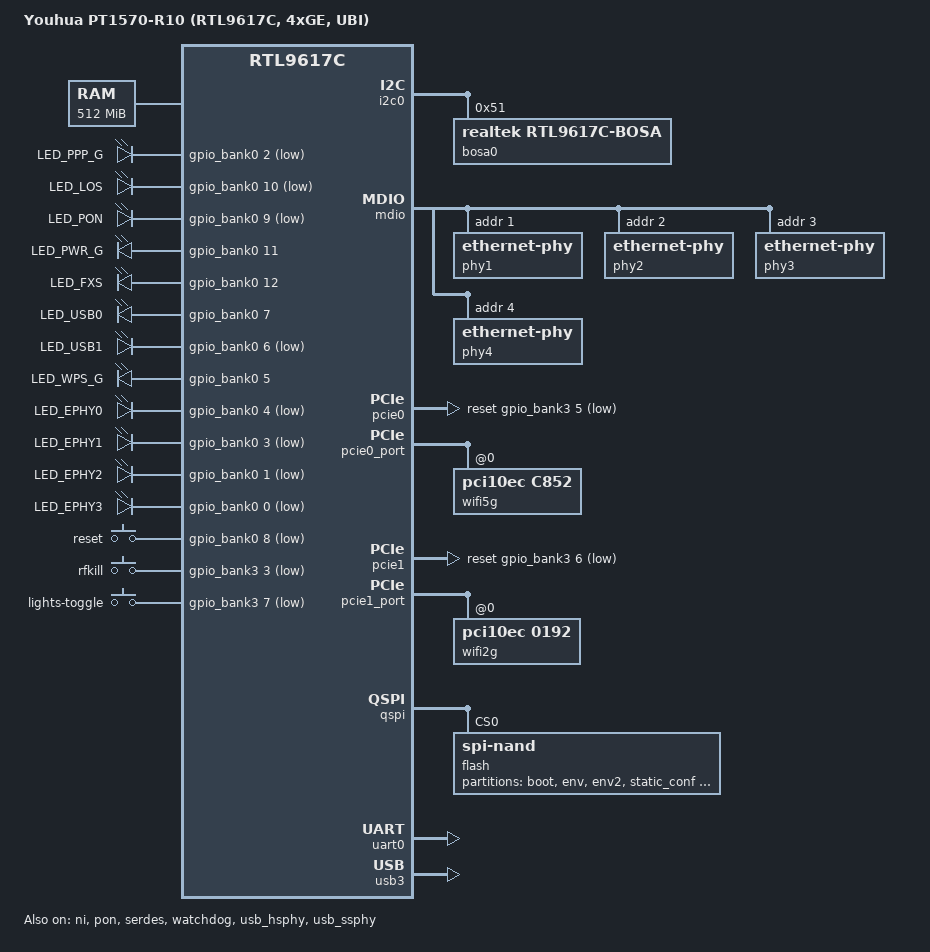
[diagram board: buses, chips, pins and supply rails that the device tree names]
// SPDX-License-Identifier: GPL-2.0-only
// Youhua PT1570-R10 — RTL9617C, 4xGE internal GPHY, PON, dual-band WiFi.
//
// Rewritten 2026-11-25 for the pure-refactor (Taurus) baseline d39cfc6.
// The old file included "rtl9617c-tyfza1-4ge.dts", which upstream removed in
// f75f4ca ("rewrite platform drivers as Taurus, drop rtl9617c compatibles").
// This DTS is modelled on upstream's rtl9617c-tianyi-tyfza1-2p5g.dts and uses
// the Taurus compatibles/device-tree bindings from rtk-taurus.dtsi.
//
// Verified board facts carried over from the previous (hardware-layer) DTS:
//   * 4xGE: internal GPHYs on NI port0..3; PCB routes them to the panel in
//     reverse (2026-11-14 per-jack check): port0=LAN4, port1=LAN3,
//     port2=LAN2, port3=LAN1. Ports are named by silkscreen via the DTS
//     "label" property (the Taurus NI driver reads it directly).
//   * LED GPIOs / polarities (old gpio0 global number -> new bank:pin,
//     mapping bank=floor(n/32), pin=n%32 from rtk-taurus.dtsi gpio-ranges):
//       internet 2L=b0:2, los 10L=b0:10, usb0 7H=b0:7, pon 9L=b0:9,
//       power 11H=b0:11, phone 12H=b0:12, lan0 4L=b0:4, lan1 3L=b0:3,
//       lan2 1L=b0:1, lan3 0L=b0:0, usb1 6L=b0:6, wps 5H=b0:5.
//     NOTE: "lan0..lan3" here are the SoC EPHY indices, mapped to panel
//     LAN4..LAN1 by files/etc/uci-defaults/96-pt1570-r10-leds.
//   * Keys (old global -> new): lights-toggle 103L=b3:7,
//     reset 8L=b0:8, rfkill/wifi 99L=b3:3.
//   * FIT boot: root=/dev/fit0 (uImage.FIT subimage block driver), with
//     chosen.u-boot,version as the fitblk driver's registration gate.
//   * WiFi: 5G RTL8852CE on pcie0, 2.4G RTL8192XBE on pcie1, using the
//     upstream mac80211 backport + AP firmware scheme (realtek,ap-firmware)
//     and factory calibration nvmem cells from the "factory" UBI volume.

/dts-v1/;

#include "rtk-taurus.dtsi"
#include <dt-bindings/gpio/gpio.h>
#include <dt-bindings/input/linux-event-codes.h>
#include <dt-bindings/leds/common.h>

/ {
	model = "Youhua PT1570-R10 (RTL9617C, 4xGE, UBI)";
	compatible = "youhua,pt1570-r10", "realtek,rtl9617c";

	aliases {
		serial0 = &uart0;
		i2c0 = &i2c0;
		led-boot = &led_power;
		led-failsafe = &led_power;
		led-running = &led_power;
		led-upgrade = &led_power;
	};

	chosen {
		stdout-path = "serial0:115200n8";
		// root=/dev/fit0 + u-boot,version gate: FIT rootfs is self-contained,
		// independent of the bootloader injecting a root= bootarg (the stock
		// qwe-qaq U-Boot does not). /dev/fit0 (not fitblk0) is the block device
		// exported by the uImage.FIT subimage block driver; see 510/511 patches.
		u-boot,version = "2025.01";
		bootargs = "earlycon console=ttyS0,115200n8 loglevel=7 clk_ignore_unused maxcpus=4 root=/dev/fit0 rootwait rootfstype=squashfs";
		rootdisk = <&ubi_rootdisk>;
	};

	memory@0 {
		device_type = "memory";
		reg = <0 0 0 0x20000000>;
	};

	reserved-memory {
		#address-cells = <2>;
		#size-cells = <2>;
		ranges;

		lan_deepq: lan-deepq@c000000 {
			reg = <0 0x0c000000 0 0x01500000>;
		};
		tz-smc@eeff000 {
			reg = <0 0x0eeff000 0 0x1000>;
			no-map;
		};
		ramoops@ff80000 {
			compatible = "ramoops";
			reg = <0 0x0ff80000 0 0x40000>;
			record-size = <0x10000>;
			console-size = <0x10000>;
			pmsg-size = <0x10000>;
		};
		tz@ffc0000 {
			reg = <0 0x0ffc0000 0 0x40000>;
		};
	};

	leds {
		compatible = "gpio-leds";

		internet {
			label = "LED_PPP_G";
			gpios = <&gpio_bank0 2 GPIO_ACTIVE_LOW>;
			default-state = "off";
		};
		los {
			label = "LED_LOS";
			gpios = <&gpio_bank0 10 GPIO_ACTIVE_LOW>;
		};
		pon {
			label = "LED_PON";
			gpios = <&gpio_bank0 9 GPIO_ACTIVE_LOW>;
		};
		led_power: power {
			label = "LED_PWR_G";
			gpios = <&gpio_bank0 11 GPIO_ACTIVE_HIGH>;
			default-state = "on";
		};
		phone {
			label = "LED_FXS";
			gpios = <&gpio_bank0 12 GPIO_ACTIVE_HIGH>;
		};
		usb0 {
			label = "LED_USB0";
			gpios = <&gpio_bank0 7 GPIO_ACTIVE_HIGH>;
		};
		usb1 {
			label = "LED_USB1";
			gpios = <&gpio_bank0 6 GPIO_ACTIVE_LOW>;
		};
		wps {
			label = "LED_WPS_G";
			gpios = <&gpio_bank0 5 GPIO_ACTIVE_HIGH>;
		};
		// SoC EPHY0..3 -> panel LAN4..LAN1 (see 96-pt1570-r10-leds).
		lan0 {
			label = "LED_EPHY0";
			gpios = <&gpio_bank0 4 GPIO_ACTIVE_LOW>;
		};
		lan1 {
			label = "LED_EPHY1";
			gpios = <&gpio_bank0 3 GPIO_ACTIVE_LOW>;
		};
		lan2 {
			label = "LED_EPHY2";
			gpios = <&gpio_bank0 1 GPIO_ACTIVE_LOW>;
		};
		lan3 {
			label = "LED_EPHY3";
			gpios = <&gpio_bank0 0 GPIO_ACTIVE_LOW>;
		};
	};

	gpio-keys {
		compatible = "gpio-keys";

		btn-reset {
			label = "reset";
			linux,code = <KEY_RESTART>;
			gpios = <&gpio_bank0 8 GPIO_ACTIVE_LOW>;
			debounce-interval = <60>;
		};
		btn-wifi {
			label = "rfkill";
			linux,code = <KEY_RFKILL>;
			gpios = <&gpio_bank3 3 GPIO_ACTIVE_LOW>;
			debounce-interval = <60>;
		};
		lights-toggle {
			label = "lights-toggle";
			linux,code = <KEY_LIGHTS_TOGGLE>;
			gpios = <&gpio_bank3 7 GPIO_ACTIVE_LOW>;
			debounce-interval = <60>;
		};
	};
};

&gpio0 {
	status = "okay";
};

&i2c0 {
	status = "okay";

	bosa0: optical-front-end@51 {
		compatible = "realtek,rtl9617c-bosa";
		reg = <0x51>;
		nvmem-cells = <&bosa_calibration>;
		nvmem-cell-names = "calibration";
	};
};

&mdio {
	status = "okay";

	phy1: ethernet-phy@1 {
		reg = <1>;
	};
	phy2: ethernet-phy@2 {
		reg = <2>;
	};
	phy3: ethernet-phy@3 {
		reg = <3>;
	};
	phy4: ethernet-phy@4 {
		reg = <4>;
	};
};

&ni {
	memory-region = <&lan_deepq>;
	nvmem-cells = <&base_mac 0>;
	nvmem-cell-names = "mac-address";
	status = "okay";

	ethernet-ports {
		// PCB is reverse-wired: NI port0..3 -> panel LAN4..LAN1.
		// The Taurus NI driver names each netdev from the DTS "label".
		port@0 {
			reg = <0>;
			label = "lan4";
			nvmem-cells = <&base_mac 4>;
			nvmem-cell-names = "mac-address";
			phy-mode = "internal";
			phy-handle = <&phy1>;
		};
		port@1 {
			reg = <1>;
			label = "lan3";
			nvmem-cells = <&base_mac 3>;
			nvmem-cell-names = "mac-address";
			phy-mode = "internal";
			phy-handle = <&phy2>;
		};
		port@2 {
			reg = <2>;
			label = "lan2";
			nvmem-cells = <&base_mac 2>;
			nvmem-cell-names = "mac-address";
			phy-mode = "internal";
			phy-handle = <&phy3>;
		};
		port@3 {
			reg = <3>;
			label = "lan1";
			nvmem-cells = <&base_mac 1>;
			nvmem-cell-names = "mac-address";
			phy-mode = "internal";
			phy-handle = <&phy4>;
		};
	};
};

&pcie0 {
	// 板载 8852CE 的 PERST#：不释放复位时链路停在 POLL_COMPLIANCE，
	// 卡不会被枚举，也就没有 phy0/wlan0。上层 tianyi DTS 同样配置。
	reset-gpios = <&gpio_bank3 5 GPIO_ACTIVE_LOW>;
	status = "okay";
};

&pcie0_port {
	// 5 GHz RTL8852CE. AP firmware + RFE54 tables come from the upstream
	// mac80211 backport patches (100-103) and rtl8852ce-ap-firmware package.
	wifi5g: wifi@0,0 {
		compatible = "pci10ec,c852";
		reg = <0x0000 0 0 0 0>;
		realtek,ap-firmware;
		realtek,rfe-type = <54>;
		ieee80211-freq-limit = <5150000 5900000>;
		nvmem-cells = <&wifi_cal_radio0>;
		nvmem-cell-names = "wifi-calibration";
	};
};

&pcie1 {
	// 板载 8192XBE 的 PERST#
	reset-gpios = <&gpio_bank3 6 GPIO_ACTIVE_LOW>;
	status = "okay";
};

&pcie1_port {
	// 2.4 GHz RTL8192XBE.
	wifi2g: wifi@0,0 {
		compatible = "pci10ec,0192";
		reg = <0x0000 0 0 0 0>;
		realtek,rfe-type = <54>;
		nvmem-cells = <&wifi_cal_radio1>;
		nvmem-cell-names = "wifi-calibration";
	};
};

&pon {
	status = "okay";
	nvmem-cells = <&epon_mac 0>, <&base_mac 0>, <&pon_sn>;
	nvmem-cell-names = "mac-address", "base-mac", "pon-serial";
	realtek,optical-front-end = <&bosa0>;
	tx-disable-gpios = <&gpio_bank0 15 GPIO_ACTIVE_HIGH>;
	realtek,burst-polarity = <0>;
	realtek,los-invert = <0>;
	realtek,uni-ports = /bits/ 8 <3 2 1 0>;
};

&qspi {
	status = "okay";

	flash@0 {
		compatible = "spi-nand";
		reg = <0>;
		spi-tx-bus-width = <1>;
		spi-rx-bus-width = <4>;

		partitions {
			compatible = "fixed-partitions";
			#address-cells = <1>;
			#size-cells = <1>;

			partition@0 {
				label = "boot";
				reg = <0x0 0x200000>;
				read-only;
			};
			partition@280000 {
				label = "env";
				reg = <0x280000 0x40000>;
			};
			partition@2c0000 {
				label = "env2";
				reg = <0x2c0000 0x40000>;
			};
			partition@300000 {
				label = "static_conf";
				reg = <0x300000 0x40000>;
			};

			ubi_partition: partition@340000 {
				label = "ubi_device";
				reg = <0x340000 0xf5c0000>;
				compatible = "linux,ubi";
				// Rootfs_data overlay needs this volume writable. refactor's
				// rtk-taurus.dtsi does not mark partitions read-only, so no
				// /delete-property/ read-only override is needed here.

				volumes {
					ubi_rootdisk: ubi-volume-fit {
						volname = "fit";
					};

					ubi_factory: ubi-volume-factory {
						volname = "factory";

						nvmem-layout {
							compatible = "fixed-layout";
							#address-cells = <1>;
							#size-cells = <1>;

							base_mac: mac-address@1000 {
								compatible = "mac-base";
								reg = <0x1000 0x6>;
								#nvmem-cell-cells = <1>;
							};

							mac_count: mac-count@1006 {
								reg = <0x1006 0x4>;
							};

							epon_mac: mac-address@1010 {
								compatible = "mac-base";
								reg = <0x1010 0x6>;
								#nvmem-cell-cells = <1>;
							};

							pon_sn: pon-serial@1020 {
								reg = <0x1020 0x10>;
							};

							device_sn: device-serial@1030 {
								reg = <0x1030 0x20>;
							};

							wifi_cal_radio0: wifi-calibration@2000 {
								reg = <0x2000 0x1000>;
							};

							wifi_cal_radio1: wifi-calibration@3000 {
								reg = <0x3000 0x1000>;
							};

							bosa_calibration: bosa-calibration@4000 {
								reg = <0x4000 0x400>;
							};

							bosa_olt_calibration: olt-calibration@4800 {
								reg = <0x4800 0x400>;
							};

							fpga_image: fpga-image@10000 {
								reg = <0x10000 0x7e0000>;
							};
						};
					};
				};
			};
		};
	};
};

/* SoC TMS sensor reads 12C low per factory xtemp calibration; report raw + 12C */
&cpu_thermal {
	deviation = <0xffffd120>;
};

&serdes {
	status = "okay";
};

&uart0 {
	status = "okay";
};

&watchdog {
	reset-on-timeout;
	delay-reset = <134>;
	status = "okay";
};

&usb_hsphy {
	status = "okay";
};

&usb_ssphy {
	status = "okay";
};

&usb3 {
	#address-cells = <1>;
	#size-cells = <0>;
	status = "okay";

	usb_port1: port@1 {
		reg = <1>;
		#trigger-source-cells = <0>;
	};
};
